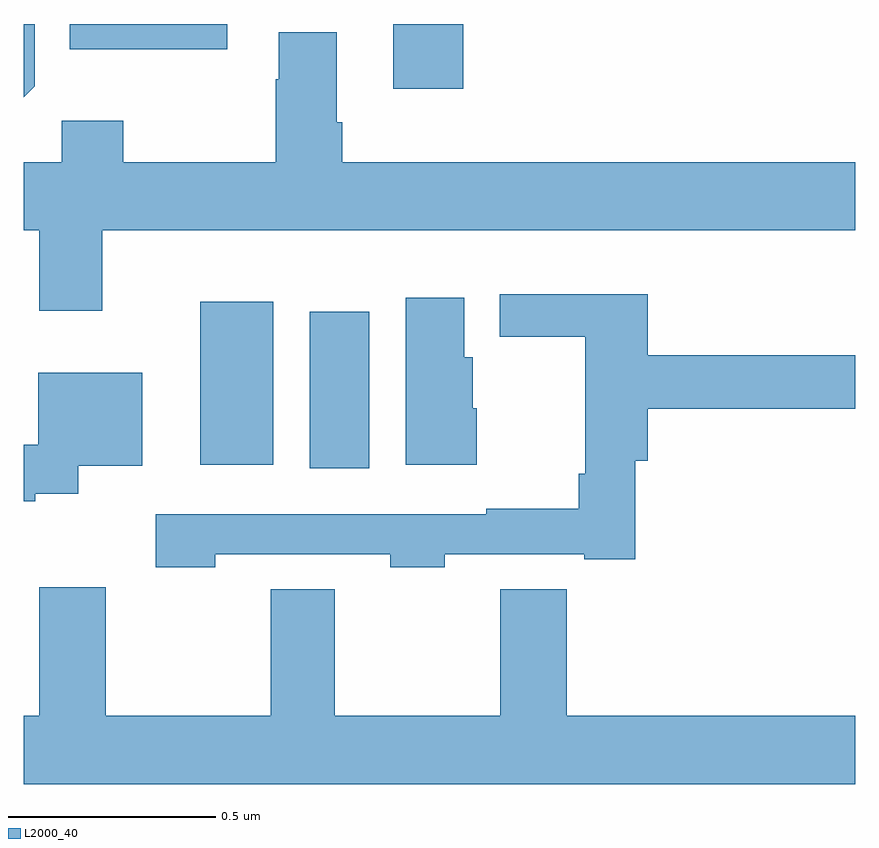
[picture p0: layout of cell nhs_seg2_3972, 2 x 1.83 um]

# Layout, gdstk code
import gdstk
lib = gdstk.Library(unit=1e-6, precision=1e-09)
def R(c, l, rs):  # rectangles x0, y0, x1, y1
    for r in rs: c.add(gdstk.rectangle(r[:2], r[2:], *l))
def P(c, l, *ps):  # polygons
    for p in ps: c.add(gdstk.Polygon(p, *l))
L2000_40 = (2000, 40)

nhs_seg2_3972 = lib.new_cell('nhs_seg2_3972')
R(nhs_seg2_3972, L2000_40, [(160.688,645.732,160.831,646.108), (160.424,645.74,160.6,646.132), (160.889,646.644,161.057,646.8), (160.111,646.739,160.489,646.8)])
P(nhs_seg2_3972, L2000_40, [(160.026,646.65),(160.026,646.8),(160,646.8),(160,646.624)],
  [(160.189,646.304),(162,646.304),(162,646.468),(160.766,646.468),(160.766,646.564),(160.753,646.564),(160.753,646.78),(160.613,646.78),(160.613,646.667),(160.606,646.667),(160.606,646.468),(160.239,646.468),(160.239,646.567),(160.092,646.567),(160.092,646.468),(160,646.468),(160,646.304),(160.037,646.304),(160.037,646.11),(160.189,646.11)],
  [(160.461,645.525),(160.881,645.525),(160.881,645.493),(161.013,645.493),(161.013,645.525),(161.348,645.525),(161.348,645.513),(161.471,645.513),(161.471,645.749),(161.501,645.749),(161.501,645.874),(162,645.874),(162,646.003),(161.501,646.003),(161.501,646.15),(161.145,646.15),(161.145,646.048),(161.35,646.048),(161.35,645.718),(161.335,645.718),(161.335,645.634),(161.113,645.634),(161.113,645.621),(160.317,645.621),(160.317,645.493),(160.461,645.493)],
  [(161.089,645.876),(161.08,645.876),(161.08,645.999),(161.059,645.999),(161.059,646.141),(160.919,646.141),(160.919,645.74),(161.089,645.74)],
  [(160.028,645.67),(160.131,645.67),(160.131,645.737),(160.285,645.737),(160.285,645.961),(160.035,645.961),(160.035,645.788),(160,645.788),(160,645.652),(160.028,645.652)],
  [(162,645.136),(161.306,645.136),(161.306,645.44),(161.146,645.44),(161.146,645.136),(160.748,645.136),(160.748,645.44),(160.594,645.44),(160.594,645.136),(160.197,645.136),(160.197,645.445),(160.037,645.445),(160.037,645.136),(160,645.136),(160,644.972),(162,644.972)])

lib.write_gds('nhs_seg2_3972.gds')
